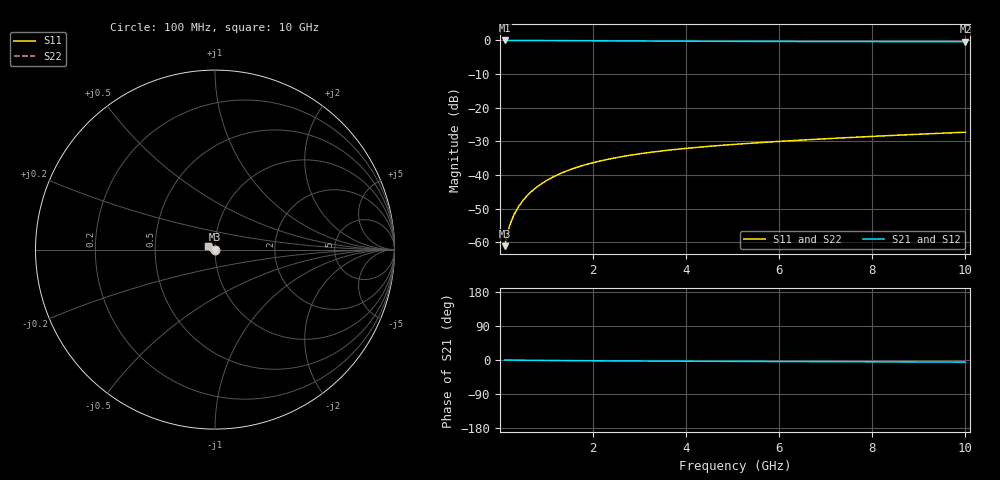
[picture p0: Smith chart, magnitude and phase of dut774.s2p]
! Touchstone file exported from HFSS 2024.1.0
!  File:  C:/UserFiles/LocalFiles/RDL_TSV_Batchsim/temp_TSV1_774_1779873794.aedt
!  Generated:  05:30:49 PM May 27, 2026
!  Design:  TSV1
!  Project:  temp_TSV1_774_1779873794
!  Setup:  Setup1
!  Solution:  Sweep
! Variables:
!  dtsv = 7.75um
!  hbump = 3um
!  htsv = 82.06um
!  lrdl = 252.1521522um
!  p = 40
!  p1 = 57.91um
!  t = 500um
!  trdl = 3um
!  wrdl = 24.89489489um
# GHz S MA R 50.000000
! Terminal data exported
! Port[1] = TSV22_T1
! Port[2] = TSV22_T2
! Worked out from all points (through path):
!   100 points, 100 MHz to 10 GHz, reference 50 ohm
!   highest |S21| = 0.00 dB at 100 MHz (marker M1); lowest = -0.4 dB at 10 GHz (marker M2)
!   lowest |S11| = -61.1 dB at 100 MHz (marker M3), VSWR 1.00, Z = 50 - j0.0856 ohm
!   |S11| at or under -10 dB: start of sweep to end of sweep
!   |S22| runs from -61.1 to -27.2 dB; largest |S21 - S12| = 3.4e-15
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0.1  0.0008812 -76.3  0.9997 -0.1  0.9997 -0.1  0.0008812 -76.3
! Gamma 0 0 0 0
! Port Impedance 50 0 50 0
0.2  0.001724 -86.3  0.9996 -0.2  0.9996 -0.2  0.001724 -86.3
0.3  0.002571 -91.3  0.9994 -0.4  0.9994 -0.4  0.002571 -91.3
0.4  0.003416 -94.9  0.9992 -0.5  0.9992 -0.5  0.003416 -94.9
0.5  0.004255 -98.0  0.9989 -0.6  0.9989 -0.6  0.004255 -98.0
0.6  0.005086 -100.8  0.9985 -0.7  0.9985 -0.7  0.005086 -100.8
0.7  0.005907 -103.4  0.9981 -0.8  0.9981 -0.8  0.005907 -103.4
0.8  0.006718 -105.9  0.9976 -0.9  0.9976 -0.9  0.006718 -105.9
0.9  0.007516 -108.3  0.9971 -1.0  0.9971 -1.0  0.007516 -108.3
1.1  0.009073 -112.9  0.9959 -1.2  0.9959 -1.2  0.009073 -112.9
1.4  0.0113 -119.5  0.9938 -1.5  0.9938 -1.5  0.0113 -119.5
1.6  0.0127 -123.6  0.9923 -1.7  0.9923 -1.7  0.0127 -123.6
1.8  0.01403 -127.6  0.9908 -1.9  0.9908 -1.9  0.01403 -127.6
2.1  0.01591 -133.4  0.9884 -2.1  0.9884 -2.1  0.01591 -133.4
2.5  0.01818 -140.5  0.9852 -2.4  0.9852 -2.4  0.01818 -140.5
2.9  0.02023 -147.1  0.9822 -2.6  0.9822 -2.6  0.02023 -147.1
3.4  0.02252 -154.6  0.9787 -2.9  0.9787 -2.9  0.02252 -154.6
4.2  0.02571 -165.3  0.974 -3.3  0.974 -3.3  0.02571 -165.3
5.1  0.02883 -175.5  0.9697 -3.6  0.9697 -3.6  0.02883 -175.5
6.7  0.03378 169.8  0.9644 -4.3  0.9644 -4.3  0.03378 169.8
8.4  0.03875 157.7  0.9607 -4.9  0.9607 -4.9  0.03875 157.7
10  0.04341 148.6  0.9583 -5.5  0.9583 -5.5  0.04341 148.6
